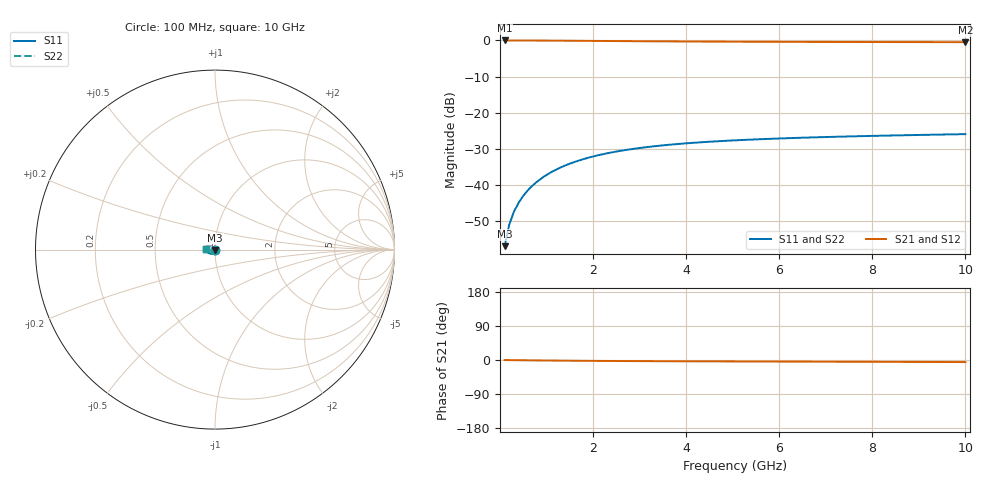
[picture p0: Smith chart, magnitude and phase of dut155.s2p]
! Touchstone file exported from HFSS 2024.1.0
!  File:  C:/UserFiles/LocalFiles/RDL_TSV_Batchsim/temp_TSV1_155_1779381777.aedt
!  Generated:  12:50:12 AM May 22, 2026
!  Design:  TSV1
!  Project:  temp_TSV1_155_1779381777
!  Setup:  Setup1
!  Solution:  Sweep
! Variables:
!  dtsv = 11.49um
!  hbump = 3um
!  htsv = 84.38um
!  lrdl = 252.1521522um
!  p = 40
!  p1 = 55.1um
!  t = 500um
!  trdl = 3um
!  wrdl = 24.89489489um
# GHz S MA R 50.000000
! Terminal data exported
! Port[1] = TSV22_T1
! Port[2] = TSV22_T2
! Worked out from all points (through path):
!   100 points, 100 MHz to 10 GHz, reference 50 ohm
!   highest |S21| = 0.00 dB at 100 MHz (marker M1); lowest = -0.5 dB at 10 GHz (marker M2)
!   lowest |S11| = -56.9 dB at 100 MHz (marker M3), VSWR 1.00, Z = 50 - j0.143 ohm
!   |S11| at or under -10 dB: start of sweep to end of sweep
!   |S22| runs from -56.9 to -25.9 dB; largest |S21 - S12| = 6e-15
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0.1  0.001433 -87.4  0.9998 -0.1  0.9998 -0.1  0.001433 -87.4
! Gamma 0 0 0 0
! Port Impedance 50 0 50 0
0.2  0.002859 -91.4  0.9997 -0.3  0.9997 -0.3  0.002859 -91.4
0.3  0.004283 -94.0  0.9994 -0.4  0.9994 -0.4  0.004283 -94.0
0.4  0.005701 -96.2  0.9991 -0.6  0.9991 -0.6  0.005701 -96.2
0.5  0.007107 -98.3  0.9986 -0.7  0.9986 -0.7  0.007107 -98.3
0.6  0.008497 -100.3  0.9981 -0.8  0.9981 -0.8  0.008497 -100.3
0.7  0.009867 -102.3  0.9975 -0.9  0.9975 -0.9  0.009867 -102.3
0.8  0.01121 -104.2  0.9969 -1.1  0.9969 -1.1  0.01121 -104.2
0.9  0.01253 -106.1  0.9962 -1.2  0.9962 -1.2  0.01253 -106.1
1.1  0.01509 -109.8  0.9946 -1.4  0.9946 -1.4  0.01509 -109.8
1.4  0.01867 -115.0  0.9918 -1.8  0.9918 -1.8  0.01867 -115.0
1.6  0.02088 -118.3  0.9899 -1.9  0.9899 -1.9  0.02088 -118.3
1.8  0.02295 -121.4  0.9878 -2.1  0.9878 -2.1  0.02295 -121.4
2.1  0.02579 -125.9  0.9847 -2.4  0.9847 -2.4  0.02579 -125.9
2.5  0.02911 -131.4  0.9806 -2.7  0.9806 -2.7  0.02911 -131.4
2.9  0.03195 -136.3  0.9768 -2.9  0.9768 -2.9  0.03195 -136.3
3.4  0.03492 -141.9  0.9724 -3.1  0.9724 -3.1  0.03492 -141.9
4.2  0.03864 -149.6  0.9665 -3.5  0.9665 -3.5  0.03864 -149.6
5.1  0.04176 -156.8  0.9613 -3.8  0.9613 -3.8  0.04176 -156.8
6.7  0.04564 -167.1  0.9548 -4.3  0.9548 -4.3  0.04564 -167.1
8.4  0.04853 -175.7  0.9504 -4.9  0.9504 -4.9  0.04853 -175.7
10  0.05068 177.4  0.9475 -5.4  0.9475 -5.4  0.05068 177.4
